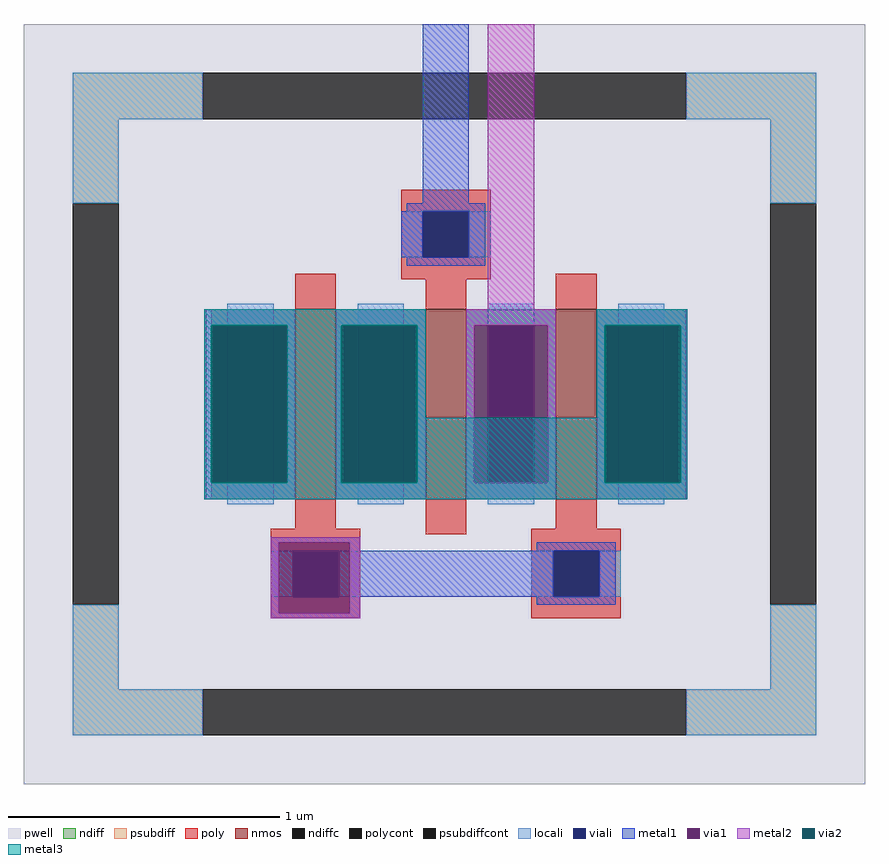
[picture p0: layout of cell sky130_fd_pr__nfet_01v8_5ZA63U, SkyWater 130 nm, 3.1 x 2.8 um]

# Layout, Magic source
magic
tech sky130A
magscale 1 2
<< pwell >>
rect -310 -280 310 280
<< nmos >>
rect -110 -70 -80 70
rect -14 -70 16 70
rect 82 -70 112 70
<< ndiff >>
rect -172 58 -110 70
rect -172 -58 -160 58
rect -126 -58 -110 58
rect -172 -70 -110 -58
rect -80 58 -14 70
rect -80 -58 -64 58
rect -30 -58 -14 58
rect -80 -70 -14 -58
rect 16 58 82 70
rect 16 -58 32 58
rect 66 -58 82 58
rect 16 -70 82 -58
rect 112 58 178 70
rect 112 -58 128 58
rect 162 -58 178 58
rect 112 -70 178 -58
<< ndiffc >>
rect -160 -58 -126 58
rect -64 -58 -30 58
rect 32 -58 66 58
rect 128 -58 162 58
<< psubdiff >>
rect -274 210 -178 244
rect 178 210 274 244
rect -274 148 -240 210
rect 240 148 274 210
rect -274 -210 -240 -148
rect 240 -210 274 -148
rect -274 -244 -178 -210
rect 178 -244 274 -210
<< psubdiffcont >>
rect -178 210 178 244
rect -274 -148 -240 148
rect 240 -148 274 148
rect -178 -244 178 -210
<< poly >>
rect -32 142 34 158
rect -32 108 -16 142
rect 18 108 34 142
rect -110 70 -80 96
rect -32 92 34 108
rect -14 70 16 92
rect 82 70 112 96
rect -110 -92 -80 -70
rect -128 -108 -62 -92
rect -14 -96 16 -70
rect 82 -92 112 -70
rect -128 -142 -112 -108
rect -78 -142 -62 -108
rect -128 -158 -62 -142
rect 64 -108 130 -92
rect 64 -142 80 -108
rect 114 -142 130 -108
rect 64 -158 130 -142
<< polycont >>
rect -16 108 18 142
rect -112 -142 -78 -108
rect 80 -142 114 -108
<< locali >>
rect -274 210 -178 244
rect 178 210 274 244
rect -274 148 -240 210
rect 240 148 274 210
rect -32 108 -16 142
rect 18 108 34 142
rect -160 58 -126 74
rect -160 -74 -126 -58
rect -64 58 -30 74
rect -64 -74 -30 -58
rect 32 58 66 74
rect 32 -74 66 -58
rect 128 58 162 74
rect 128 -74 162 -58
rect -128 -142 -112 -108
rect -78 -142 -62 -108
rect 64 -142 80 -108
rect 114 -142 130 -108
rect -274 -210 -240 -148
rect 240 -210 274 -148
rect -274 -244 -178 -210
rect 178 -244 274 -210
<< viali >>
rect -16 108 18 142
rect -160 -58 -126 58
rect -64 -58 -30 58
rect 32 -58 66 58
rect 128 -58 162 58
rect -112 -142 -78 -108
rect 80 -142 114 -108
<< metal1 >>
rect -16 148 18 280
rect -28 142 30 148
rect -32 108 -16 142
rect 18 108 30 142
rect -28 102 30 108
rect -176 58 -110 70
rect -176 -58 -170 58
rect -116 -58 -110 58
rect -176 -70 -110 -58
rect -80 58 -14 70
rect -80 -58 -74 58
rect -22 -58 -14 58
rect -80 -70 -14 -58
rect 16 58 82 70
rect 16 -58 22 58
rect 76 -58 82 58
rect 16 -70 82 -58
rect 112 58 178 70
rect 112 -58 120 58
rect 172 -58 178 58
rect 112 -70 178 -58
rect -128 -102 -62 -98
rect -128 -154 -122 -102
rect -70 -108 -62 -102
rect 68 -108 126 -102
rect -70 -142 80 -108
rect 114 -142 126 -108
rect -70 -154 -62 -142
rect 68 -148 126 -142
rect -128 -158 -62 -154
<< via1 >>
rect -170 -58 -160 58
rect -160 -58 -126 58
rect -126 -58 -116 58
rect -74 -58 -64 58
rect -64 -58 -30 58
rect -30 -58 -22 58
rect 22 -58 32 58
rect 32 -58 66 58
rect 66 -58 76 58
rect 120 -58 128 58
rect 128 -58 162 58
rect 162 -58 172 58
rect -122 -108 -70 -102
rect -122 -142 -112 -108
rect -112 -142 -78 -108
rect -78 -142 -70 -108
rect -122 -154 -70 -142
<< metal2 >>
rect 32 70 66 280
rect -177 58 -110 70
rect -177 -58 -172 58
rect -116 -58 -110 58
rect -177 -70 -110 -58
rect -80 58 -14 70
rect -80 -58 -76 58
rect -20 -58 -14 58
rect -80 -70 -14 -58
rect 16 58 82 70
rect 16 -58 22 58
rect 76 -58 82 58
rect 16 -70 82 -58
rect 112 58 179 70
rect 112 -58 118 58
rect 174 -58 179 58
rect 112 -70 179 -58
rect -128 -102 -62 -98
rect -128 -154 -122 -102
rect -70 -154 -62 -102
rect -128 -158 -62 -154
<< via2 >>
rect -172 -58 -170 58
rect -170 -58 -116 58
rect -76 -58 -74 58
rect -74 -58 -22 58
rect -22 -58 -20 58
rect 118 -58 120 58
rect 120 -58 172 58
rect 172 -58 174 58
<< metal3 >>
rect -177 58 -14 70
rect -177 -58 -172 58
rect -116 -58 -76 58
rect -20 -10 -14 58
rect 112 58 179 70
rect 112 -10 118 58
rect -20 -58 118 -10
rect 174 -58 179 58
rect -177 -70 179 -58
<< properties >>
string FIXED_BBOX -258 -226 258 226
string gencell sky130_fd_pr__nfet_01v8
string library sky130
string parameters w 0.7 l 0.150 m 1 nf 3 diffcov 100 polycov 100 guard 1 glc 1 grc 1 gtc 1 gbc 1 tbcov 100 rlcov 100 topc 1 botc 1 poverlap 0 doverlap 1 lmin 0.15 wmin 0.42 compatible {sky130_fd_pr__nfet_01v8 sky130_fd_pr__nfet_01v8_lvt  sky130_fd_bs_flash__special_sonosfet_star  sky130_fd_pr__nfet_g5v0d10v5 sky130_fd_pr__nfet_05v0_nvt  sky130_fd_pr__nfet_03v3_nvt} full_metal 1 viasrc 100 viadrn 100 viagate 100 viagb 0 viagr 0 viagl 0 viagt 0
<< end >>
